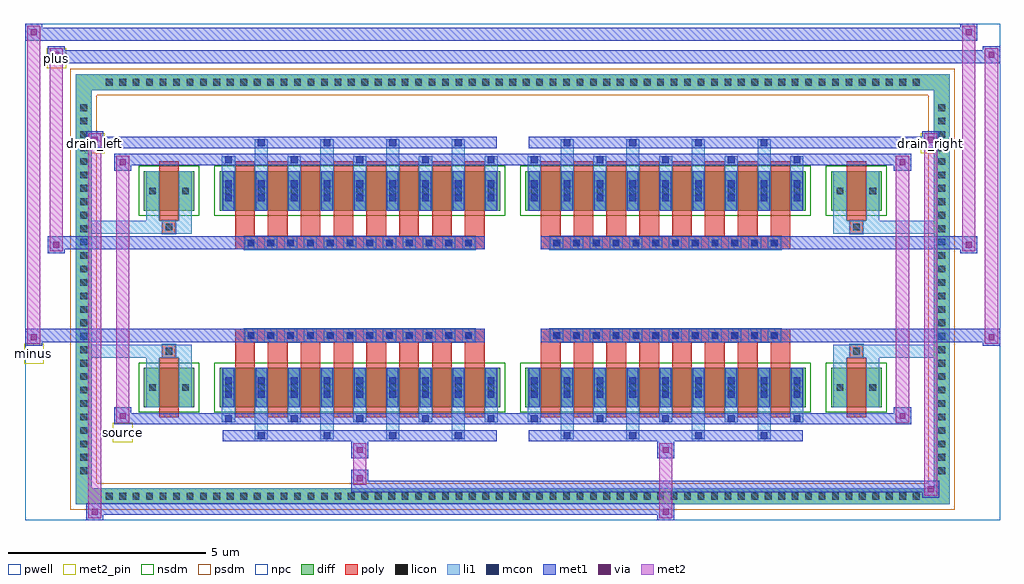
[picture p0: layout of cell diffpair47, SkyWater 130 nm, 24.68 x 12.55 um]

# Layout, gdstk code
import gdstk
lib = gdstk.Library(unit=1e-6, precision=5e-09)
def R(c, l, rs):  # rectangles x0, y0, x1, y1
    for r in rs: c.add(gdstk.rectangle(r[:2], r[2:], *l))
def A(c, l, x, y, w, h, nx, ny, dx, dy):  # array of equal rectangles
    R(c, l, [(x+i*dx, y+j*dy, x+i*dx+w, y+j*dy+h) for i in range(nx) for j in range(ny)])
def P(c, l, *ps):  # polygons
    for p in ps: c.add(gdstk.Polygon(p, *l))
pwell = (64, 44)
diff = (65, 20)
poly = (66, 20)
licon = (66, 44)
li1 = (67, 20)
mcon = (67, 44)
met1 = (68, 20)
via = (68, 44)
met2_pin = (69, 16)
met2 = (69, 20)
nsdm = (93, 44)
psdm = (94, 20)
npc = (95, 20)

diffpair47 = lib.new_cell('diffpair47')
R(diffpair47, pwell, [(-12.32,-5.84,12.32,6.71), (-9.64,-4.03,-0.01,-0.805), (0.01,-4.03,9.64,-0.805), (-9.64,0.805,-0.01,4.03), (0.01,0.805,9.64,4.03)])
A(diffpair47, diff, -10.405, -5.44, 0.41, 0.41, 61, 2, 0.34, 10.47)
A(diffpair47, diff, -11.05, -4.795, 0.41, 0.41, 1, 28, 0, 0.34)
A(diffpair47, diff, 10.64, -4.795, 0.41, 0.41, 1, 28, 0, 0.34)
R(diffpair47, diff, [(-10.405,-5.44,10.405,-5.03), (-11.05,-4.795,-10.64,4.795), (10.64,-4.795,11.05,4.795), (-9.33,-2.985,-8.05,-1.985), (-7.41,-2.985,-0.32,-1.985), (0.32,-2.985,7.41,-1.985), (8.05,-2.985,9.33,-1.985), (-9.33,1.985,-8.05,2.985), (-7.41,1.985,-0.32,2.985), (0.32,1.985,7.41,2.985), (8.05,1.985,9.33,2.985), (-10.405,5.03,10.405,5.44)])
P(diffpair47, diff, [(11.05,5.44),(-11.05,5.44),(-11.05,-5.03),(-10.64,-5.03),(-10.64,5.03),(10.64,5.03),(10.64,-5.03),(-10.64,-5.03),(-11.05,-5.03),(-11.05,-5.44),(11.05,-5.44)])
A(diffpair47, poly, -7.02, -3.235, 0.5, 1.5, 8, 2, 0.83, 4.97)
A(diffpair47, poly, 0.71, -3.235, 0.5, 1.5, 8, 2, 0.83, 4.97)
A(diffpair47, poly, -7.02, -1.735, 0.5, 0.4, 8, 2, 0.83, 3.07)
A(diffpair47, poly, 0.71, -1.735, 0.5, 0.4, 8, 2, 0.83, 3.07)
A(diffpair47, poly, -6.78, -1.335, 0.33, 0.33, 12, 2, 0.5, 2.34)
A(diffpair47, poly, 0.95, -1.335, 0.33, 0.33, 12, 2, 0.5, 2.34)
R(diffpair47, poly, [(-8.94,-3.235,-8.44,-1.735), (8.44,-3.235,8.94,-1.735), (-8.855,-1.735,-8.525,-1.405), (-8.855,-1.735,-8.525,-1.405), (8.525,-1.735,8.855,-1.405), (8.525,-1.735,8.855,-1.405), (-7.02,-1.335,-0.71,-1.005), (0.71,-1.335,7.02,-1.005), (-7.02,1.005,-0.71,1.335), (0.71,1.005,7.02,1.335), (-8.855,1.405,-8.525,1.735), (-8.855,1.405,-8.525,1.735), (8.525,1.405,8.855,1.735), (8.525,1.405,8.855,1.735), (-8.94,1.735,-8.44,3.235), (8.44,1.735,8.94,3.235)])
A(diffpair47, licon, -10.285, -5.32, 0.17, 0.17, 61, 2, 0.34, 10.47)
A(diffpair47, licon, -10.93, -4.675, 0.17, 0.17, 1, 28, 0, 0.34)
A(diffpair47, licon, 10.76, -4.675, 0.17, 0.17, 1, 28, 0, 0.34)
A(diffpair47, licon, -7.27, -2.57, 0.17, 0.17, 9, 2, 0.83, 4.97)
A(diffpair47, licon, 0.46, -2.57, 0.17, 0.17, 9, 2, 0.83, 4.97)
A(diffpair47, licon, -6.7, -1.255, 0.17, 0.17, 12, 2, 0.5, 2.34)
A(diffpair47, licon, 1.03, -1.255, 0.17, 0.17, 12, 2, 0.5, 2.34)
R(diffpair47, licon, [(-9.19,-2.57,-9.02,-2.4), (-8.36,-2.57,-8.19,-2.4), (8.19,-2.57,8.36,-2.4), (9.02,-2.57,9.19,-2.4), (-8.775,-1.655,-8.605,-1.485), (8.605,-1.655,8.775,-1.485), (-8.775,1.485,-8.605,1.655), (8.605,1.485,8.775,1.655), (-9.19,2.4,-9.02,2.57), (-8.36,2.4,-8.19,2.57), (8.19,2.4,8.36,2.57), (9.02,2.4,9.19,2.57)])
A(diffpair47, li1, -10.365, -5.4, 0.33, 0.33, 61, 2, 0.34, 10.47)
A(diffpair47, li1, -11.01, -4.755, 0.33, 0.33, 1, 28, 0, 0.34)
A(diffpair47, li1, 10.68, -4.755, 0.33, 0.33, 1, 28, 0, 0.34)
A(diffpair47, li1, -6.52, -3.79, 0.33, 0.805, 4, 2, 1.66, 6.775)
A(diffpair47, li1, -6.44, -3.79, 0.17, 0.17, 4, 2, 1.66, 7.41)
A(diffpair47, li1, 1.21, -3.79, 0.33, 0.805, 4, 2, 1.66, 6.775)
A(diffpair47, li1, 1.29, -3.79, 0.17, 0.17, 4, 2, 1.66, 7.41)
A(diffpair47, li1, -7.35, -3.36, 0.33, 0.375, 5, 2, 1.66, 6.345)
A(diffpair47, li1, -7.27, -3.36, 0.17, 0.17, 5, 2, 1.66, 6.55)
A(diffpair47, li1, 0.38, -3.36, 0.33, 0.375, 5, 2, 1.66, 6.345)
A(diffpair47, li1, 0.46, -3.36, 0.17, 0.17, 5, 2, 1.66, 6.55)
A(diffpair47, li1, -7.35, -2.985, 0.33, 1, 9, 2, 0.83, 4.97)
A(diffpair47, li1, 0.38, -2.985, 0.33, 1, 9, 2, 0.83, 4.97)
A(diffpair47, li1, -7.27, -2.75, 0.17, 0.17, 9, 2, 0.83, 0.36)
A(diffpair47, li1, -7.27, -2.75, 0.17, 0.53, 9, 2, 0.83, 4.97)
A(diffpair47, li1, 0.46, -2.75, 0.17, 0.17, 9, 2, 0.83, 0.36)
A(diffpair47, li1, 0.46, -2.75, 0.17, 0.53, 9, 2, 0.83, 4.97)
A(diffpair47, li1, -7.35, -2.65, 0.33, 0.33, 9, 2, 0.83, 4.97)
A(diffpair47, li1, 0.38, -2.65, 0.33, 0.33, 9, 2, 0.83, 4.97)
A(diffpair47, li1, -6.78, -1.335, 0.33, 0.33, 12, 2, 0.5, 2.34)
A(diffpair47, li1, 0.95, -1.335, 0.33, 0.33, 12, 2, 0.5, 2.34)
A(diffpair47, li1, -7.27, 2.22, 0.17, 0.17, 9, 2, 0.83, 0.36)
A(diffpair47, li1, 0.46, 2.22, 0.17, 0.17, 9, 2, 0.83, 0.36)
R(diffpair47, li1, [(-11.05,-5.44,-10.64,-5.03), (-11.05,-5.44,-10.64,-5.03), (-10.64,-5.44,10.64,-5.03), (10.64,-5.44,11.05,-5.03), (10.64,-5.44,11.05,-5.03), (-11.05,-5.03,-10.64,5.03), (10.64,-5.03,11.05,5.03), (-9.27,-2.985,-8.94,-1.985), (-8.44,-2.985,-8.11,-1.985), (8.11,-2.985,8.44,-1.985), (8.94,-2.985,9.27,-1.985), (-9.27,-2.65,-8.94,-2.32), (-8.44,-2.65,-8.11,-2.32), (8.11,-2.65,8.44,-2.32), (8.94,-2.65,9.27,-2.32), (-9.27,-1.985,-8.94,-1.405), (-8.44,-1.985,-8.11,-1.405), (8.11,-1.985,8.44,-1.405), (8.94,-1.985,9.27,-1.405), (-11.05,-1.735,-8.855,-1.405), (-9.27,-1.735,-8.855,-1.405), (-8.855,-1.735,-8.525,-1.405), (-8.525,-1.735,-8.11,-1.405), (8.11,-1.735,8.525,-1.405), (8.525,-1.735,8.855,-1.405), (8.525,-1.735,11.05,-1.405), (8.855,-1.735,9.27,-1.405), (-11.05,1.405,-8.855,1.735), (-9.27,1.405,-8.855,1.735), (-9.27,1.405,-8.94,1.985), (-8.855,1.405,-8.525,1.735), (-8.525,1.405,-8.11,1.735), (-8.44,1.405,-8.11,1.985), (8.11,1.405,8.525,1.735), (8.11,1.405,8.44,1.985), (8.525,1.405,8.855,1.735), (8.525,1.405,11.05,1.735), (8.855,1.405,9.27,1.735), (8.94,1.405,9.27,1.985), (-9.27,1.985,-8.94,2.985), (-8.44,1.985,-8.11,2.985), (8.11,1.985,8.44,2.985), (8.94,1.985,9.27,2.985), (-9.27,2.32,-8.94,2.65), (-8.44,2.32,-8.11,2.65), (8.11,2.32,8.44,2.65), (8.94,2.32,9.27,2.65), (-11.05,5.03,-10.64,5.44), (-11.05,5.03,-10.64,5.44), (-10.64,5.03,10.64,5.44), (10.64,5.03,11.05,5.44), (10.64,5.03,11.05,5.44)])
A(diffpair47, mcon, -6.44, -3.79, 0.17, 0.17, 4, 2, 1.66, 7.41)
A(diffpair47, mcon, 1.29, -3.79, 0.17, 0.17, 4, 2, 1.66, 7.41)
A(diffpair47, mcon, -7.27, -3.36, 0.17, 0.17, 5, 2, 1.66, 6.55)
A(diffpair47, mcon, 0.46, -3.36, 0.17, 0.17, 5, 2, 1.66, 6.55)
A(diffpair47, mcon, -7.27, -2.75, 0.17, 0.17, 9, 2, 0.83, 0.36)
A(diffpair47, mcon, 0.46, -2.75, 0.17, 0.17, 9, 2, 0.83, 0.36)
A(diffpair47, mcon, -6.7, -1.255, 0.17, 0.17, 12, 2, 0.5, 2.34)
A(diffpair47, mcon, 1.03, -1.255, 0.17, 0.17, 12, 2, 0.5, 2.34)
A(diffpair47, mcon, -7.27, 2.22, 0.17, 0.17, 9, 2, 0.83, 0.36)
A(diffpair47, mcon, 0.46, 2.22, 0.17, 0.17, 9, 2, 0.83, 0.36)
A(diffpair47, met1, -6.5, -3.85, 0.29, 0.29, 4, 2, 1.66, 7.41)
A(diffpair47, met1, 1.23, -3.85, 0.29, 0.29, 4, 2, 1.66, 7.41)
A(diffpair47, met1, -7.33, -3.42, 0.29, 0.29, 5, 2, 1.66, 6.55)
A(diffpair47, met1, 0.4, -3.42, 0.29, 0.29, 5, 2, 1.66, 6.55)
A(diffpair47, met1, -7.33, -2.985, 0.29, 1, 9, 2, 0.83, 4.97)
A(diffpair47, met1, 0.4, -2.985, 0.29, 1, 9, 2, 0.83, 4.97)
A(diffpair47, met1, -7.33, -2.81, 0.29, 0.29, 9, 2, 0.83, 0.36)
A(diffpair47, met1, 0.4, -2.81, 0.29, 0.29, 9, 2, 0.83, 0.36)
A(diffpair47, met1, -6.76, -1.315, 0.29, 0.29, 12, 2, 0.5, 2.34)
A(diffpair47, met1, 0.97, -1.315, 0.29, 0.29, 12, 2, 0.5, 2.34)
A(diffpair47, met1, -7.33, 2.16, 0.29, 0.29, 9, 2, 0.83, 0.36)
A(diffpair47, met1, 0.4, 2.16, 0.29, 0.29, 9, 2, 0.83, 0.36)
R(diffpair47, met1, [(-10.78,-5.84,-10.35,-5.41), (3.65,-5.84,4.08,-5.41), (-10.78,-5.7,4.08,-5.41), (10.35,-5.27,10.78,-4.84), (-4.08,-5.13,10.78,-4.84), (-4.08,-4.99,-3.65,-4.56), (-4.08,-4.28,-3.65,-3.85), (3.65,-4.28,4.08,-3.85), (-7.33,-3.85,-0.4,-3.56), (0.4,-3.85,7.33,-3.56), (-10.07,-3.42,-9.64,-2.99), (-10.07,-3.42,-7.33,-3.13), (-7.33,-3.42,-0.4,-3.13), (-0.4,-3.42,0.4,-3.13), (0.4,-3.42,7.33,-3.13), (7.33,-3.42,10.07,-3.13), (9.64,-3.42,10.07,-2.99), (-12.32,-1.435,-11.89,-1.005), (11.89,-1.435,12.32,-1.005), (-12.32,-1.335,-0.71,-1.005), (-7.02,-1.335,-0.71,-1.005), (0.71,-1.335,7.02,-1.005), (0.71,-1.335,12.32,-1.005), (-11.75,0.905,-11.32,1.335), (11.32,0.905,11.75,1.335), (-11.75,1.005,-7.02,1.335), (-7.02,1.005,-0.71,1.335), (0.71,1.005,7.02,1.335), (7.02,1.005,11.75,1.335), (-10.07,2.99,-9.64,3.42), (9.64,2.99,10.07,3.42), (-10.07,3.13,-7.33,3.42), (-7.33,3.13,-0.4,3.42), (-0.4,3.13,0.4,3.42), (0.4,3.13,7.33,3.42), (7.33,3.13,10.07,3.42), (-10.78,3.56,-10.35,3.99), (-10.78,3.56,-7.33,3.85), (-7.33,3.56,-0.4,3.85), (0.4,3.56,7.33,3.85), (7.33,3.56,10.78,3.85), (10.35,3.56,10.78,3.99), (-11.75,5.71,-11.32,6.14), (-11.75,5.71,-9.64,6.04), (-9.64,5.71,9.64,6.04), (9.64,5.71,12.32,6.04), (11.89,5.71,12.32,6.14), (-12.32,6.28,-11.89,6.71), (-12.32,6.28,-9.64,6.61), (-9.64,6.28,9.64,6.61), (9.64,6.28,11.75,6.61), (11.32,6.28,11.75,6.71)])
R(diffpair47, via, [(-10.64,-5.7,-10.49,-5.55), (3.79,-5.7,3.94,-5.55), (10.49,-5.13,10.64,-4.98), (-3.94,-4.85,-3.79,-4.7), (-3.94,-4.14,-3.79,-3.99), (3.79,-4.14,3.94,-3.99), (-9.93,-3.28,-9.78,-3.13), (9.78,-3.28,9.93,-3.13), (-12.18,-1.295,-12.03,-1.145), (12.03,-1.295,12.18,-1.145), (-11.61,1.045,-11.46,1.195), (11.46,1.045,11.61,1.195), (-9.93,3.13,-9.78,3.28), (9.78,3.13,9.93,3.28), (-10.64,3.7,-10.49,3.85), (10.49,3.7,10.64,3.85), (-11.61,5.85,-11.46,6), (12.03,5.85,12.18,6), (-12.18,6.42,-12.03,6.57), (11.46,6.42,11.61,6.57)])
R(diffpair47, met2_pin, [(-10.105,-3.87,-9.605,-3.37), (-12.355,-1.885,-11.855,-1.385), (-10.815,3.44,-10.315,3.94), (10.315,3.44,10.815,3.94), (-11.785,5.59,-11.285,6.09)])
R(diffpair47, met2, [(-10.73,-5.79,-10.4,-5.46), (-10.73,-5.79,-10.4,3.94), (3.7,-5.79,4.03,-5.46), (3.7,-5.46,4.03,-4.23), (10.4,-5.22,10.73,-4.89), (10.4,-5.22,10.73,3.94), (-4.03,-4.94,-3.7,-4.61), (-4.03,-4.61,-3.7,-4.23), (-4.03,-4.23,-3.7,-3.9), (3.7,-4.23,4.03,-3.9), (-10.02,-3.37,-9.69,-3.04), (-10.02,-3.37,-9.69,3.37), (9.69,-3.37,10.02,-3.04), (9.69,-3.37,10.02,3.37), (-12.27,-1.385,-11.94,-1.055), (-12.27,-1.385,-11.94,6.66), (11.94,-1.385,12.27,-1.055), (11.94,-1.385,12.27,6.09), (-11.7,0.955,-11.37,1.285), (-11.7,0.955,-11.37,6.09), (11.37,0.955,11.7,1.285), (11.37,0.955,11.7,6.66), (-10.02,3.04,-9.69,3.37), (9.69,3.04,10.02,3.37), (-10.73,3.61,-10.4,3.94), (10.4,3.61,10.73,3.94), (-11.7,5.76,-11.37,6.09), (11.94,5.76,12.27,6.09), (-12.27,6.33,-11.94,6.66), (11.37,6.33,11.7,6.66)])
P(diffpair47, met2, [(12.27,-1.385),(12.27,-1.385),(12.27,-1.055),(12.27,-1.055)],
  [(12.27,5.76),(12.27,5.76),(12.27,6.09),(12.27,6.09)],
  [(-11.94,-1.385),(-11.94,-1.385),(-11.94,-1.055),(-11.94,-1.055)],
  [(-11.94,6.33),(-11.94,6.33),(-11.94,6.66),(-11.94,6.66)],
  [(11.7,0.955),(11.7,0.955),(11.7,1.285),(11.7,1.285)],
  [(11.7,6.33),(11.7,6.33),(11.7,6.66),(11.7,6.66)],
  [(-11.37,0.955),(-11.37,0.955),(-11.37,1.285),(-11.37,1.285)],
  [(-11.37,5.76),(-11.37,5.76),(-11.37,6.09),(-11.37,6.09)],
  [(-10.4,-5.79),(-10.4,-5.79),(-10.4,-5.46),(-10.4,-5.46)],
  [(-10.4,3.61),(-10.4,3.61),(-10.4,3.94),(-10.4,3.94)],
  [(10.73,-5.22),(10.73,-5.22),(10.73,-4.89),(10.73,-4.89)],
  [(10.73,3.61),(10.73,3.61),(10.73,3.94),(10.73,3.94)],
  [(-9.69,-3.37),(-9.69,-3.37),(-9.69,-3.04),(-9.69,-3.04)],
  [(-9.69,3.04),(-9.69,3.04),(-9.69,3.37),(-9.69,3.37)],
  [(10.02,-3.37),(10.02,-3.37),(10.02,-3.04),(10.02,-3.04)],
  [(10.02,3.04),(10.02,3.04),(10.02,3.37),(10.02,3.37)])
R(diffpair47, nsdm, [(-9.46,-3.115,-7.92,-1.855), (-7.54,-3.115,-0.19,-1.855), (0.19,-3.115,7.54,-1.855), (7.92,-3.115,9.46,-1.855), (-9.46,1.855,-7.92,3.115), (-7.54,1.855,-0.19,3.115), (0.19,1.855,7.54,3.115), (7.92,1.855,9.46,3.115)])
P(diffpair47, psdm, [(11.18,5.57),(-11.18,5.57),(-11.18,-4.9),(-10.51,-4.9),(-10.51,4.9),(10.51,4.9),(10.51,-4.9),(-10.51,-4.9),(-11.18,-4.9),(-11.18,-5.57),(11.18,-5.57)])
A(diffpair47, npc, -6.8, -1.355, 0.37, 0.37, 12, 2, 0.5, 2.34)
A(diffpair47, npc, 0.93, -1.355, 0.37, 0.37, 12, 2, 0.5, 2.34)
R(diffpair47, npc, [(-8.875,-1.755,-8.505,-1.385), (8.505,-1.755,8.875,-1.385), (-6.8,-1.355,-5.93,-0.985), (-6.8,-1.355,-5.93,-0.985), (-6.3,-1.355,-5.43,-0.985), (-6.3,-1.355,-5.43,-0.985), (-5.8,-1.355,-4.93,-0.985), (-5.8,-1.355,-4.93,-0.985), (-5.3,-1.355,-4.43,-0.985), (-5.3,-1.355,-4.43,-0.985), (-4.8,-1.355,-3.93,-0.985), (-4.8,-1.355,-3.93,-0.985), (-4.3,-1.355,-3.43,-0.985), (-4.3,-1.355,-3.43,-0.985), (-3.8,-1.355,-2.93,-0.985), (-3.8,-1.355,-2.93,-0.985), (-3.3,-1.355,-2.43,-0.985), (-3.3,-1.355,-2.43,-0.985), (-2.8,-1.355,-1.93,-0.985), (-2.8,-1.355,-1.93,-0.985), (-2.3,-1.355,-1.43,-0.985), (-2.3,-1.355,-1.43,-0.985), (-1.8,-1.355,-0.93,-0.985), (-1.8,-1.355,-0.93,-0.985), (0.93,-1.355,1.8,-0.985), (0.93,-1.355,1.8,-0.985), (1.43,-1.355,2.3,-0.985), (1.43,-1.355,2.3,-0.985), (1.93,-1.355,2.8,-0.985), (1.93,-1.355,2.8,-0.985), (2.43,-1.355,3.3,-0.985), (2.43,-1.355,3.3,-0.985), (2.93,-1.355,3.8,-0.985), (2.93,-1.355,3.8,-0.985), (3.43,-1.355,4.3,-0.985), (3.43,-1.355,4.3,-0.985), (3.93,-1.355,4.8,-0.985), (3.93,-1.355,4.8,-0.985), (4.43,-1.355,5.3,-0.985), (4.43,-1.355,5.3,-0.985), (4.93,-1.355,5.8,-0.985), (4.93,-1.355,5.8,-0.985), (5.43,-1.355,6.3,-0.985), (5.43,-1.355,6.3,-0.985), (5.93,-1.355,6.8,-0.985), (5.93,-1.355,6.8,-0.985), (-6.8,0.985,-5.93,1.355), (-6.8,0.985,-5.93,1.355), (-6.3,0.985,-5.43,1.355), (-6.3,0.985,-5.43,1.355), (-5.8,0.985,-4.93,1.355), (-5.8,0.985,-4.93,1.355), (-5.3,0.985,-4.43,1.355), (-5.3,0.985,-4.43,1.355), (-4.8,0.985,-3.93,1.355), (-4.8,0.985,-3.93,1.355), (-4.3,0.985,-3.43,1.355), (-4.3,0.985,-3.43,1.355), (-3.8,0.985,-2.93,1.355), (-3.8,0.985,-2.93,1.355), (-3.3,0.985,-2.43,1.355), (-3.3,0.985,-2.43,1.355), (-2.8,0.985,-1.93,1.355), (-2.8,0.985,-1.93,1.355), (-2.3,0.985,-1.43,1.355), (-2.3,0.985,-1.43,1.355), (-1.8,0.985,-0.93,1.355), (-1.8,0.985,-0.93,1.355), (0.93,0.985,1.8,1.355), (0.93,0.985,1.8,1.355), (1.43,0.985,2.3,1.355), (1.43,0.985,2.3,1.355), (1.93,0.985,2.8,1.355), (1.93,0.985,2.8,1.355), (2.43,0.985,3.3,1.355), (2.43,0.985,3.3,1.355), (2.93,0.985,3.8,1.355), (2.93,0.985,3.8,1.355), (3.43,0.985,4.3,1.355), (3.43,0.985,4.3,1.355), (3.93,0.985,4.8,1.355), (3.93,0.985,4.8,1.355), (4.43,0.985,5.3,1.355), (4.43,0.985,5.3,1.355), (4.93,0.985,5.8,1.355), (4.93,0.985,5.8,1.355), (5.43,0.985,6.3,1.355), (5.43,0.985,6.3,1.355), (5.93,0.985,6.8,1.355), (5.93,0.985,6.8,1.355), (-8.875,1.385,-8.505,1.755), (8.505,1.385,8.875,1.755)])
diffpair47.add(gdstk.Label('minus', (-12.105,-1.635), layer=69, texttype=5))
diffpair47.add(gdstk.Label('drain_right', (10.565,3.69), layer=69, texttype=5))
diffpair47.add(gdstk.Label('drain_left', (-10.565,3.69), layer=69, texttype=5))
diffpair47.add(gdstk.Label('source', (-9.855,-3.62), layer=69, texttype=5))
diffpair47.add(gdstk.Label('plus', (-11.535,5.84), layer=69, texttype=5))

lib.write_gds('diffpair47.gds')
